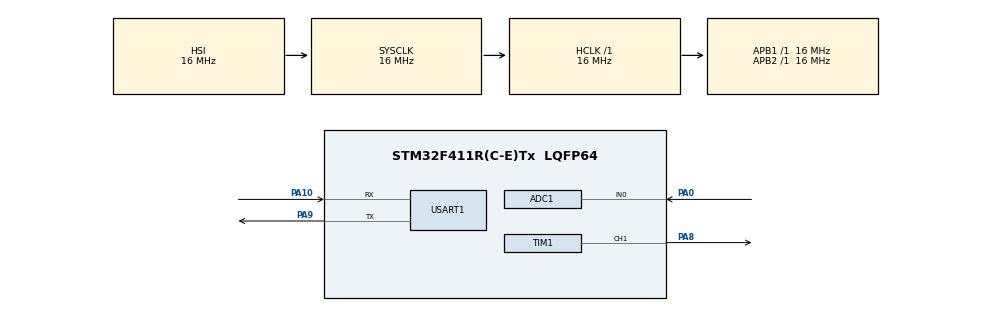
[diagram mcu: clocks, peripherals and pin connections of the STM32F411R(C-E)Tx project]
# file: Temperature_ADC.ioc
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ADC1.Channel-0\#ChannelRegularConversion=ADC_CHANNEL_0
ADC1.NbrOfConversionFlag=1
ADC1.Rank-0\#ChannelRegularConversion=1
ADC1.SamplingTime-0\#ChannelRegularConversion=ADC_SAMPLETIME_3CYCLES
ADC1.ScanConvMode=DISABLE
ADC1.master=1
Mcu.Family=STM32F4
Mcu.Name=STM32F411R(C-E)Tx
Mcu.Package=LQFP64
NVIC.PriorityGroup=NVIC_PRIORITYGROUP_4
NVIC.USART1_IRQn=true\:0\:0\:false\:false\:true\:true\:true\:true
PA0-WKUP.Signal=ADCx_IN0
PA10.Mode=Asynchronous
PA10.Signal=USART1_RX
PA8.Signal=S_TIM1_CH1
PA9.Mode=Asynchronous
PA9.Signal=USART1_TX
ProjectManager.HeapSize=0x200
ProjectManager.StackSize=0x400
ProjectManager.TargetToolchain=STM32CubeIDE
RCC.AHBFreq_Value=16000000
RCC.APB1Freq_Value=16000000
RCC.APB2Freq_Value=16000000
RCC.CortexFreq_Value=16000000
RCC.HSE_VALUE=25000000
RCC.HSI_VALUE=16000000
RCC.LSE_VALUE=32768
RCC.SYSCLKFreq_VALUE=16000000
RCC.VCOOutputFreq_Value=192000000
SH.ADCx_IN0.0=ADC1_IN0,IN0
SH.S_TIM1_CH1.0=TIM1_CH1,PWM Generation1 CH1
TIM1.Channel-PWM\ Generation1\ CH1=TIM_CHANNEL_1
TIM1.Period=999
TIM1.Prescaler=15
TIM1.Pulse-PWM\ Generation1\ CH1=499
USART1.VirtualMode=VM_ASYNC
VP_TIM1_VS_ClockSourceINT.Mode=Internal
board=custom

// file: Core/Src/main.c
/* USER CODE BEGIN Header */
/**
 ******************************************************************************
 * @file           : main.c
 * @brief          : Main program body
 ******************************************************************************
 * @attention
 *
 * Copyright (c) 2023 STMicroelectronics.
 * All rights reserved.
 *
 * This software is licensed under terms that can be found in the LICENSE file
 * in the root directory of this software component.
 * If no LICENSE file comes with this software, it is provided AS-IS.
 *
 ******************************************************************************
 */
/* USER CODE END Header */
#include "main.h"

/* USER CODE BEGIN Includes */
#include "uart.h"
#include "filter.h"
/* USER CODE END Includes */

ADC_HandleTypeDef hadc1;

TIM_HandleTypeDef htim1;

UART_HandleTypeDef huart1;

void SystemClock_Config(void);
static void MX_GPIO_Init(void);
static void MX_ADC1_Init(void);
static void MX_USART1_UART_Init(void);
static void MX_TIM1_Init(void);

/* USER CODE BEGIN 0 */
int freq = 262;
int count = 0;

void enableBuzzer()
{
	HAL_TIM_PWM_Start(&htim1, TIM_CHANNEL_1);
}

void disableBuzzer()
{
	HAL_TIM_PWM_Stop(&htim1, TIM_CHANNEL_1);
}

/*
 void setSound(int freq)
 {
 htim1.Instance->ARR = 100000 / freq - 1;
 htim1.Instance->CCR1 = htim1.Instance->CNT / 2;
 }

 void stopSound()
 {
 htim1.Instance->CCR1 = 0;
 }
 */
/* USER CODE END 0 */

int main(void)
{

	/* MCU Configuration--------------------------------------------------------*/

	/* Reset of all peripherals, Initializes the Flash interface and the Systick. */
	HAL_Init();

	/* Configure the system clock */
	SystemClock_Config();

	/* Initialize all configured peripherals */
	MX_GPIO_Init();
	MX_ADC1_Init();
	MX_USART1_UART_Init();
	MX_TIM1_Init();
	/* USER CODE BEGIN 2 */
	HAL_TIM_PWM_Start(&htim1, TIM_CHANNEL_1);
	initUart();
	/* USER CODE END 2 */

	/* Infinite loop */
	while (1)
	{

		/* USER CODE BEGIN 3 */
		HAL_ADC_Start(&hadc1);
		HAL_ADC_PollForConversion(&hadc1, 1);
		uint16_t value = HAL_ADC_GetValue(&hadc1);
		HAL_ADC_Stop(&hadc1);

		int Avg_value = AvgFilter(value);
		int Kal_value = (int) Kalman((double) value);

		printf("%d %d %d\n\r", value, Avg_value, Kal_value);

		if(Kal_value > 400) enableBuzzer();
		if(Kal_value < 350)	disableBuzzer();

		/*
		 if (Kal_value > 400)
		 count++;
		 else
		 count = 0;

		 if (count >= 10)
		 setSound(freq);
		 else
		 stopSound();
		 */
		HAL_Delay(100);
	}
	/* USER CODE END 3 */
}

void SystemClock_Config(void)
{
	RCC_OscInitTypeDef RCC_OscInitStruct =
	{ 0 };
	RCC_ClkInitTypeDef RCC_ClkInitStruct =
	{ 0 };

	/** Configure the main internal regulator output voltage
	 */
	__HAL_RCC_PWR_CLK_ENABLE();
	__HAL_PWR_VOLTAGESCALING_CONFIG(PWR_REGULATOR_VOLTAGE_SCALE1);

	/** Initializes the RCC Oscillators according to the specified parameters
	 * in the RCC_OscInitTypeDef structure.
	 */
	RCC_OscInitStruct.OscillatorType = RCC_OSCILLATORTYPE_HSI;
	RCC_OscInitStruct.HSIState = RCC_HSI_ON;
	RCC_OscInitStruct.HSICalibrationValue = RCC_HSICALIBRATION_DEFAULT;
	RCC_OscInitStruct.PLL.PLLState = RCC_PLL_NONE;
	if (HAL_RCC_OscConfig(&RCC_OscInitStruct) != HAL_OK)
	{
		Error_Handler();
	}

	/** Initializes the CPU, AHB and APB buses clocks
	 */
	RCC_ClkInitStruct.ClockType = RCC_CLOCKTYPE_HCLK | RCC_CLOCKTYPE_SYSCLK
			| RCC_CLOCKTYPE_PCLK1 | RCC_CLOCKTYPE_PCLK2;
	RCC_ClkInitStruct.SYSCLKSource = RCC_SYSCLKSOURCE_HSI;
	RCC_ClkInitStruct.AHBCLKDivider = RCC_SYSCLK_DIV1;
	RCC_ClkInitStruct.APB1CLKDivider = RCC_HCLK_DIV1;
	RCC_ClkInitStruct.APB2CLKDivider = RCC_HCLK_DIV1;

	if (HAL_RCC_ClockConfig(&RCC_ClkInitStruct, FLASH_LATENCY_0) != HAL_OK)
	{
		Error_Handler();
	}
}

static void MX_ADC1_Init(void)
{

	ADC_ChannelConfTypeDef sConfig =
	{ 0 };

	/** Configure the global features of the ADC (Clock, Resolution, Data Alignment and number of conversion)
	 */
	hadc1.Instance = ADC1;
	hadc1.Init.ClockPrescaler = ADC_CLOCK_SYNC_PCLK_DIV2;
	hadc1.Init.Resolution = ADC_RESOLUTION_12B;
	hadc1.Init.ScanConvMode = DISABLE;
	hadc1.Init.ContinuousConvMode = DISABLE;
	hadc1.Init.DiscontinuousConvMode = DISABLE;
	hadc1.Init.ExternalTrigConvEdge = ADC_EXTERNALTRIGCONVEDGE_NONE;
	hadc1.Init.ExternalTrigConv = ADC_SOFTWARE_START;
	hadc1.Init.DataAlign = ADC_DATAALIGN_RIGHT;
	hadc1.Init.NbrOfConversion = 1;
	hadc1.Init.DMAContinuousRequests = DISABLE;
	hadc1.Init.EOCSelection = ADC_EOC_SINGLE_CONV;
	if (HAL_ADC_Init(&hadc1) != HAL_OK)
	{
		Error_Handler();
	}

	/** Configure for the selected ADC regular channel its corresponding rank in the sequencer and its sample time.
	 */
	sConfig.Channel = ADC_CHANNEL_0;
	sConfig.Rank = 1;
	sConfig.SamplingTime = ADC_SAMPLETIME_3CYCLES;
	if (HAL_ADC_ConfigChannel(&hadc1, &sConfig) != HAL_OK)
	{
		Error_Handler();
	}

}

static void MX_TIM1_Init(void)
{

	TIM_ClockConfigTypeDef sClockSourceConfig =
	{ 0 };
	TIM_MasterConfigTypeDef sMasterConfig =
	{ 0 };
	TIM_OC_InitTypeDef sConfigOC =
	{ 0 };
	TIM_BreakDeadTimeConfigTypeDef sBreakDeadTimeConfig =
	{ 0 };

	htim1.Instance = TIM1;
	htim1.Init.Prescaler = 15;
	htim1.Init.CounterMode = TIM_COUNTERMODE_UP;
	htim1.Init.Period = 999;
	htim1.Init.ClockDivision = TIM_CLOCKDIVISION_DIV1;
	htim1.Init.RepetitionCounter = 0;
	htim1.Init.AutoReloadPreload = TIM_AUTORELOAD_PRELOAD_DISABLE;
	if (HAL_TIM_Base_Init(&htim1) != HAL_OK)
	{
		Error_Handler();
	}
	sClockSourceConfig.ClockSource = TIM_CLOCKSOURCE_INTERNAL;
	if (HAL_TIM_ConfigClockSource(&htim1, &sClockSourceConfig) != HAL_OK)
	{
		Error_Handler();
	}
	if (HAL_TIM_PWM_Init(&htim1) != HAL_OK)
	{
		Error_Handler();
	}
	sMasterConfig.MasterOutputTrigger = TIM_TRGO_RESET;
	sMasterConfig.MasterSlaveMode = TIM_MASTERSLAVEMODE_DISABLE;
	if (HAL_TIMEx_MasterConfigSynchronization(&htim1, &sMasterConfig) != HAL_OK)
	{
		Error_Handler();
	}
	sConfigOC.OCMode = TIM_OCMODE_PWM1;
	sConfigOC.Pulse = 499;
	sConfigOC.OCPolarity = TIM_OCPOLARITY_HIGH;
	sConfigOC.OCNPolarity = TIM_OCNPOLARITY_HIGH;
	sConfigOC.OCFastMode = TIM_OCFAST_DISABLE;
	sConfigOC.OCIdleState = TIM_OCIDLESTATE_RESET;
	sConfigOC.OCNIdleState = TIM_OCNIDLESTATE_RESET;
	if (HAL_TIM_PWM_ConfigChannel(&htim1, &sConfigOC, TIM_CHANNEL_1) != HAL_OK)
	{
		Error_Handler();
	}
	sBreakDeadTimeConfig.OffStateRunMode = TIM_OSSR_DISABLE;
	sBreakDeadTimeConfig.OffStateIDLEMode = TIM_OSSI_DISABLE;
	sBreakDeadTimeConfig.LockLevel = TIM_LOCKLEVEL_OFF;
	sBreakDeadTimeConfig.DeadTime = 0;
	sBreakDeadTimeConfig.BreakState = TIM_BREAK_DISABLE;
	sBreakDeadTimeConfig.BreakPolarity = TIM_BREAKPOLARITY_HIGH;
	sBreakDeadTimeConfig.AutomaticOutput = TIM_AUTOMATICOUTPUT_DISABLE;
	if (HAL_TIMEx_ConfigBreakDeadTime(&htim1, &sBreakDeadTimeConfig) != HAL_OK)
	{
		Error_Handler();
	}
	HAL_TIM_MspPostInit(&htim1);

}

static void MX_USART1_UART_Init(void)
{

	huart1.Instance = USART1;
	huart1.Init.BaudRate = 115200;
	huart1.Init.WordLength = UART_WORDLENGTH_8B;
	huart1.Init.StopBits = UART_STOPBITS_1;
	huart1.Init.Parity = UART_PARITY_NONE;
	huart1.Init.Mode = UART_MODE_TX_RX;
	huart1.Init.HwFlowCtl = UART_HWCONTROL_NONE;
	huart1.Init.OverSampling = UART_OVERSAMPLING_16;
	if (HAL_UART_Init(&huart1) != HAL_OK)
	{
		Error_Handler();
	}

}

static void MX_GPIO_Init(void)
{

	/* GPIO Ports Clock Enable */
	__HAL_RCC_GPIOA_CLK_ENABLE();

}

void Error_Handler(void)
{
	__disable_irq();
	while (1)
	{
	}
}
